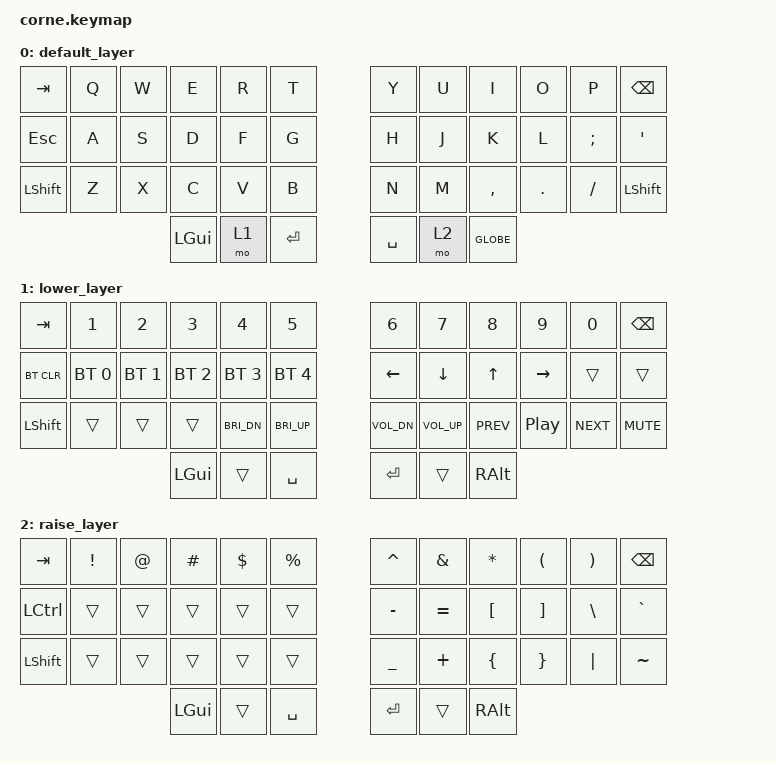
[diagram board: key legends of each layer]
/*
 * Copyright (c) 2020 The ZMK Contributors
 *
 * SPDX-License-Identifier: MIT
 */

#include <behaviors.dtsi>
#include <dt-bindings/zmk/keys.h>
#include <dt-bindings/zmk/bt.h>



/ {
        keymap {
                compatible = "zmk,keymap";

                default_layer {
// -----------------------------------------------------------------------------------------
// |  TAB |  Q  |  W  |  E  |  R  |  T  |   |  Y  |  U   |  I  |  O  |  P  | BKSP |
// | ESC  |  A  |  S  |  D  |  F  |  G  |   |  H  |  J   |  K  |  L  |  ;  |  '   |
// | SHFT |  Z  |  X  |  C  |  V  |  B  |   |  N  |  M   |  ,  |  .  |  /  | SHFT  |
//                    | GUI | LWR | ENT |   | SPC | RSE  | FN  |
                        bindings = <
   &kp TAB   &kp Q &kp W &kp E &kp R &kp T   &kp Y &kp U  &kp I     &kp O   &kp P    &kp BSPC
   &kp ESC   &kp A &kp S &kp D &kp F &kp G   &kp H &kp J  &kp K     &kp L   &kp SEMI &kp SQT
   &kp LSHFT &kp Z &kp X &kp C &kp V &kp B   &kp N &kp M  &kp COMMA &kp DOT &kp FSLH &kp LSHFT
                  &kp LGUI &mo 1 &kp RET        &kp SPACE &mo 2 &kp GLOBE
                        >;
                }; 
                lower_layer {
// -----------------------------------------------------------------------------------------
// |  TAB |  1  |  2  |  3  |  4  |  5  |   |  6  |  7  |  8  |  9  |  0  | BKSP |
// | BTCLR| BT1 | BT2 | BT3 | BT4 | BT5 |   | LFT | DWN |  UP | RGT |     |      |
// | SHFT |     |     |     | BR- | BR+ |   | VL- | VL+ | PREV| PP  | NEXT| MUT  |
//                    | GUI |     | SPC |   | ENT |     | ALT |
                        bindings = <
   &kp TAB    &kp N1       &kp N2       &kp N3       &kp N4       &kp N5         &kp N6       &kp N7       &kp N8     &kp N9   &kp N0     &kp BSPC
   &bt BT_CLR &bt BT_SEL 0 &bt BT_SEL 1 &bt BT_SEL 2 &bt BT_SEL 3 &bt BT_SEL 4   &kp LEFT     &kp DOWN     &kp UP     &kp RIGHT &trans    &trans
   &kp LSHFT  &trans       &trans       &trans       &kp C_BRI_DN &kp C_BRI_UP   &kp C_VOL_DN &kp C_VOL_UP &kp C_PREV &kp C_PP &kp C_NEXT &kp C_MUTE
                                    &kp LGUI     &trans       &kp SPACE      &kp RET  &trans   &kp RALT
                        >;
                };

                raise_layer {
// -----------------------------------------------------------------------------------------
// |  TAB |  !  |  @  |  #  |  $  |  %  |   |  ^  |  &  |  *  |  (  |  )  | BKSP |
// | CTRL |     |     |     |     |     |   |  -  |  =  |  [  |  ]  |  \  |  `   |
// | SHFT |     |     |     |     |     |   |  _  |  +  |  {  |  }  | "|" |  ~   |
//                    | GUI |     | SPC |   | ENT |     | ALT |
                        bindings = <
   &kp  TAB  &kp EXCL &kp AT &kp HASH &kp DLLR &kp PRCNT   &kp CARET &kp AMPS  &kp ASTRK &kp LPAR &kp RPAR &kp BSPC
   &kp LCTRL &trans   &trans &trans   &trans   &trans      &kp MINUS &kp EQUAL &kp LBKT  &kp RBKT &kp BSLH &kp GRAVE
   &kp LSHFT &trans   &trans &trans   &trans   &trans      &kp UNDER &kp PLUS  &kp LBRC  &kp RBRC &kp PIPE &kp TILDE
                             &kp LGUI &trans   &kp SPACE   &kp RET   &trans    &kp RALT
                        >;
                };
        };
};

